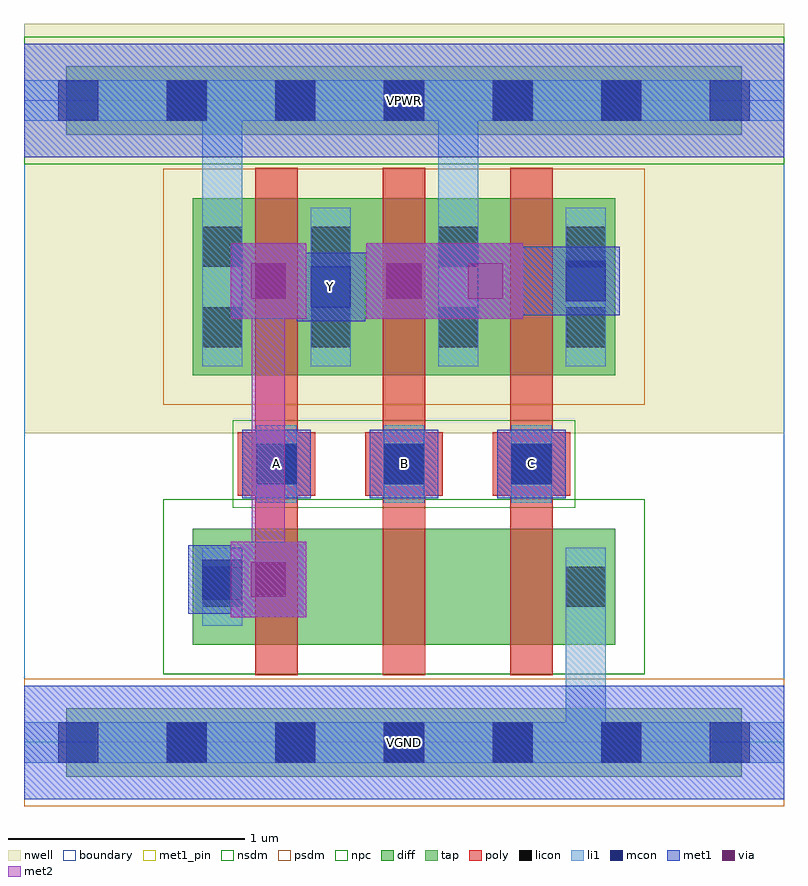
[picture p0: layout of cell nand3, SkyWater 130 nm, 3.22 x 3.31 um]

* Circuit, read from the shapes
.subckt nand3 A B C VGND VPWR Y
XM1 n1 A Y VGND sky130_fd_pr__nfet_01v8 w=0.49 l=0.18
XM2 n2 B n1 VGND sky130_fd_pr__nfet_01v8 w=0.49 l=0.18
XM3 VGND C n2 VGND sky130_fd_pr__nfet_01v8 w=0.49 l=0.18
XM4 Y A VPWR VPWR sky130_fd_pr__pfet_01v8 w=0.75 l=0.18
XM5 VPWR B Y VPWR sky130_fd_pr__pfet_01v8 w=0.75 l=0.18
XM6 Y C VPWR VPWR sky130_fd_pr__pfet_01v8 w=0.75 l=0.18
.ends

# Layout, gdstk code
import gdstk
lib = gdstk.Library(unit=1e-6, precision=1e-09)
def R(c, l, rs):  # rectangles x0, y0, x1, y1
    for r in rs: c.add(gdstk.rectangle(r[:2], r[2:], *l))
def A(c, l, x, y, w, h, nx, ny, dx, dy):  # array of equal rectangles
    R(c, l, [(x+i*dx, y+j*dy, x+i*dx+w, y+j*dy+h) for i in range(nx) for j in range(ny)])
nwell = (64, 20)
diff = (65, 20)
tap = (65, 44)
poly = (66, 20)
licon = (66, 44)
li1 = (67, 20)
mcon = (67, 44)
met1_pin = (68, 16)
met1 = (68, 20)
via = (68, 44)
met2 = (69, 20)
nsdm = (93, 44)
psdm = (94, 20)
npc = (95, 20)
boundary = (235, 4)

nand3 = lib.new_cell('nand3')
R(nand3, nwell, [(0,1.31,3.22,3.045)])
R(nand3, diff, [(0.715,0.415,2.505,0.905), (0.715,1.555,2.505,2.305)])
R(nand3, tap, [(0.18,-0.145,3.04,0.145), (0.18,2.575,3.04,2.865)])
A(nand3, poly, 0.98, 0.285, 0.18, 2.15, 3, 1, 0.54, 0)
A(nand3, poly, 0.905, 1.045, 0.33, 0.27, 3, 1, 0.54, 0)
A(nand3, licon, 0.605, -0.085, 0.17, 0.17, 5, 2, 0.46, 2.72)
A(nand3, licon, 0.985, 1.095, 0.17, 0.17, 3, 1, 0.54, 0)
A(nand3, licon, 1.215, 1.675, 0.17, 0.17, 3, 2, 0.54, 0.34)
R(nand3, licon, [(0.755,0.575,0.925,0.745), (2.295,0.575,2.465,0.745), (0.755,1.675,0.925,1.845), (0.755,2.015,0.925,2.185)])
A(nand3, li1, 0.985, 1.015, 0.17, 0.33, 3, 1, 0.54, 0)
A(nand3, li1, 1.215, 1.595, 0.17, 0.67, 3, 1, 0.54, 0)
R(nand3, li1, [(0,-0.085,3.22,0.085), (2.295,-0.085,2.465,0.825), (0.755,0.495,0.925,0.825), (2.295,0.495,2.465,0.825), (0.755,1.595,0.925,2.265), (0.755,1.595,0.925,2.805), (1.755,1.595,1.925,2.805), (0,2.635,3.22,2.805)])
A(nand3, mcon, 0.145, -0.085, 0.17, 0.17, 7, 2, 0.46, 2.72)
A(nand3, mcon, 0.985, 1.095, 0.17, 0.17, 3, 1, 0.54, 0)
R(nand3, mcon, [(0.755,0.605,0.925,0.775), (1.215,1.845,1.385,2.015), (2.295,1.87,2.465,2.04)])
A(nand3, met1_pin, 0.925, 1.035, 0.29, 0.29, 3, 1, 0.54, 0)
R(nand3, met1_pin, [(0,-0.24,3.22,0.24), (1.155,1.785,1.445,2.075), (0,2.48,3.22,2.96)])
A(nand3, met1, 0.925, 1.035, 0.29, 0.29, 3, 1, 0.54, 0)
R(nand3, met1, [(0,-0.24,3.22,0.24), (0.875,0.53,1.195,0.85), (0.695,0.545,0.985,0.835), (0.77,0.62,1.105,0.76), (1.155,1.785,1.445,2.075), (0.875,1.795,1.195,2.115), (1.445,1.795,1.45,2.075), (1.445,1.795,1.45,2.075), (1.445,1.795,1.45,2.075), (1.45,1.795,1.77,2.115), (1.77,1.795,1.795,2.115), (1.77,1.795,1.795,2.115), (1.77,1.795,1.795,2.115), (1.77,1.795,1.795,2.115), (1.77,1.795,1.795,2.115), (1.77,1.795,1.795,2.115), (1.795,1.795,2.115,2.115), (2.115,1.81,2.235,2.1), (2.115,1.81,2.235,2.1), (2.115,1.81,2.235,2.1), (2.115,1.81,2.235,2.1), (2.115,1.81,2.235,2.1), (2.115,1.81,2.235,2.1), (2.235,1.81,2.525,2.1), (0.965,1.885,1.335,2.025), (1.195,1.885,1.68,2.025), (1.195,1.885,1.335,2.025), (1.335,1.885,1.45,2.025), (1.335,1.885,1.45,2.025), (1.335,1.885,1.45,2.025), (1.335,1.885,1.45,2.025), (1.335,1.885,1.45,2.025), (1.335,1.885,1.45,2.025), (1.335,1.885,1.45,2.025), (1.335,1.885,1.45,2.025), (1.335,1.885,1.45,2.025), (1.335,1.885,1.445,2.025), (1.335,1.885,1.445,2.025), (1.335,1.885,1.445,2.025), (1.335,1.885,1.445,2.025), (1.335,1.885,1.445,2.025), (1.335,1.885,1.445,2.025), (1.335,1.885,1.445,2.025), (1.335,1.885,1.445,2.025), (1.335,1.885,1.445,2.025), (1.335,1.885,1.445,2.025), (1.335,1.885,1.445,2.025), (1.335,1.885,1.445,2.025), (1.335,1.885,1.445,2.025), (1.335,1.885,1.445,2.025), (1.335,1.885,1.445,2.025), (1.335,1.885,1.445,2.025), (1.335,1.885,1.445,2.025), (1.335,1.885,1.445,2.025), (1.335,1.885,1.445,2.025), (1.335,1.885,1.445,2.025), (1.335,1.885,1.445,2.025), (1.335,1.885,1.445,2.025), (1.335,1.885,1.445,2.025), (1.335,1.885,1.445,2.025), (1.335,1.885,1.445,2.025), (1.335,1.885,1.445,2.025), (1.335,1.885,1.445,2.025), (1.335,1.885,1.445,2.025), (1.335,1.885,1.445,2.025), (1.335,1.885,1.445,2.025), (1.335,1.885,1.445,2.025), (1.335,1.885,1.445,2.025), (1.335,1.885,1.445,2.025), (1.335,1.885,1.445,2.025), (1.335,1.885,1.445,2.025), (1.335,1.885,1.445,2.025), (1.335,1.885,1.445,2.025), (1.335,1.885,1.445,2.025), (1.335,1.885,1.445,2.025), (1.335,1.885,1.445,2.025), (1.335,1.885,1.445,2.025), (1.335,1.885,1.445,2.025), (1.335,1.885,1.445,2.025), (1.335,1.885,1.445,2.025), (1.335,1.885,1.445,2.025), (1.335,1.885,1.445,2.025), (1.335,1.885,1.445,2.025), (1.335,1.885,1.445,2.025), (1.445,1.885,1.45,2.025), (1.445,1.885,1.45,2.025), (1.445,1.885,1.45,2.025), (1.445,1.885,1.45,2.025), (1.445,1.885,1.45,2.025), (1.445,1.885,1.45,2.025), (1.445,1.885,1.45,2.025), (1.445,1.885,1.45,2.025), (1.445,1.885,1.45,2.025), (1.445,1.885,1.45,2.025), (1.445,1.885,1.45,2.025), (1.445,1.885,1.45,2.025), (1.445,1.885,1.45,2.025), (1.445,1.885,1.45,2.025), (1.445,1.885,1.45,2.025), (1.445,1.885,1.45,2.025), (1.445,1.885,1.45,2.025), (1.445,1.885,1.45,2.025), (1.445,1.885,1.45,2.025), (1.445,1.885,1.45,2.025), (1.445,1.885,1.45,2.025), (1.445,1.885,1.45,2.025), (1.445,1.885,1.45,2.025), (1.445,1.885,1.45,2.025), (1.445,1.885,1.45,2.025), (1.68,1.885,1.795,2.025), (1.68,1.885,1.795,2.025), (1.68,1.885,1.795,2.025), (1.68,1.885,1.795,2.025), (1.68,1.885,1.795,2.025), (1.68,1.885,1.795,2.025), (1.68,1.885,1.795,2.025), (1.68,1.885,1.795,2.025), (1.68,1.885,1.795,2.025), (1.68,1.885,1.795,2.025), (1.68,1.885,1.795,2.025), (1.68,1.885,1.795,2.025), (1.68,1.885,1.795,2.025), (1.68,1.885,1.795,2.025), (1.68,1.885,1.795,2.025), (1.68,1.885,1.795,2.025), (1.68,1.885,1.795,2.025), (1.68,1.885,1.795,2.025), (1.68,1.885,1.795,2.025), (1.68,1.885,1.795,2.025), (1.68,1.885,1.795,2.025), (1.68,1.885,1.795,2.025), (1.68,1.885,1.77,2.025), (1.68,1.885,1.77,2.025), (1.68,1.885,1.77,2.025), (1.68,1.885,1.77,2.025), (1.68,1.885,1.77,2.025), (1.68,1.885,1.77,2.025), (1.68,1.885,1.77,2.025), (1.68,1.885,1.77,2.025), (1.68,1.885,1.77,2.025), (1.68,1.885,1.77,2.025), (1.68,1.885,1.77,2.025), (1.68,1.885,1.77,2.025), (1.68,1.885,1.77,2.025), (1.68,1.885,1.77,2.025), (1.68,1.885,1.77,2.025), (1.68,1.885,1.77,2.025), (1.68,1.885,1.77,2.025), (1.68,1.885,1.77,2.025), (1.68,1.885,1.77,2.025), (1.68,1.885,1.77,2.025), (1.68,1.885,1.77,2.025), (1.68,1.885,1.77,2.025), (1.68,1.885,1.77,2.025), (1.68,1.885,1.77,2.025), (1.77,1.885,1.885,2.025), (1.77,1.885,1.885,2.025), (1.77,1.885,1.885,2.025), (1.77,1.885,1.885,2.025), (1.77,1.885,1.885,2.025), (1.77,1.885,1.885,2.025), (1.77,1.885,1.885,2.025), (1.77,1.885,1.885,2.025), (1.77,1.885,1.885,2.025), (1.77,1.885,1.885,2.025), (1.77,1.885,1.885,2.025), (1.77,1.885,1.885,2.025), (1.77,1.885,1.885,2.025), (1.77,1.885,1.885,2.025), (1.77,1.885,1.885,2.025), (1.77,1.885,1.885,2.025), (1.77,1.885,1.885,2.025), (1.77,1.885,1.885,2.025), (1.77,1.885,1.885,2.025), (1.77,1.885,1.885,2.025), (1.77,1.885,1.885,2.025), (1.77,1.885,1.885,2.025), (1.77,1.885,1.795,2.025), (1.77,1.885,1.795,2.025), (1.77,1.885,1.795,2.025), (1.77,1.885,1.795,2.025), (1.77,1.885,1.795,2.025), (1.77,1.885,1.795,2.025), (1.77,1.885,1.795,2.025), (1.77,1.885,1.795,2.025), (1.77,1.885,1.795,2.025), (1.77,1.885,1.795,2.025), (1.77,1.885,1.795,2.025), (1.77,1.885,1.795,2.025), (1.77,1.885,1.795,2.025), (1.77,1.885,1.795,2.025), (1.77,1.885,1.795,2.025), (1.77,1.885,1.795,2.025), (1.77,1.885,1.795,2.025), (1.77,1.885,1.795,2.025), (1.77,1.885,1.795,2.025), (1.77,1.885,1.795,2.025), (1.77,1.885,1.795,2.025), (1.77,1.885,1.795,2.025), (1.77,1.885,1.795,2.025), (1.77,1.885,1.795,2.025), (1.77,1.885,1.795,2.025), (1.77,1.885,1.795,2.025), (1.77,1.885,1.795,2.025), (1.77,1.885,1.795,2.025), (1.77,1.885,1.795,2.025), (1.77,1.885,1.795,2.025), (1.77,1.885,1.795,2.025), (1.77,1.885,1.795,2.025), (1.77,1.885,1.795,2.025), (1.77,1.885,1.795,2.025), (1.77,1.885,1.795,2.025), (1.77,1.885,1.795,2.025), (1.77,1.885,1.795,2.025), (1.77,1.885,1.795,2.025), (1.77,1.885,1.795,2.025), (1.77,1.885,1.795,2.025), (1.77,1.885,1.795,2.025), (1.77,1.885,1.795,2.025), (1.77,1.885,1.795,2.025), (1.77,1.885,1.795,2.025), (1.77,1.885,1.795,2.025), (1.77,1.885,1.795,2.025), (1.77,1.885,1.795,2.025), (1.77,1.885,1.795,2.025), (1.77,1.885,1.795,2.025), (1.77,1.885,1.795,2.025), (1.77,1.885,1.795,2.025), (1.77,1.885,1.795,2.025), (1.77,1.885,1.795,2.025), (1.77,1.885,1.795,2.025), (1.77,1.885,1.795,2.025), (1.77,1.885,1.795,2.025), (1.77,1.885,1.795,2.025), (1.77,1.885,1.795,2.025), (1.77,1.885,1.795,2.025), (1.77,1.885,1.795,2.025), (1.77,1.885,1.795,2.025), (1.77,1.885,1.795,2.025), (1.77,1.885,1.795,2.025), (1.77,1.885,1.795,2.025), (1.77,1.885,1.795,2.025), (1.77,1.885,1.795,2.025), (1.77,1.885,1.795,2.025), (1.77,1.885,1.795,2.025), (1.77,1.885,1.795,2.025), (1.77,1.885,1.795,2.025), (1.77,1.885,1.795,2.025), (1.77,1.885,1.795,2.025), (1.77,1.885,1.795,2.025), (1.77,1.885,1.795,2.025), (1.77,1.885,1.795,2.025), (1.77,1.885,1.795,2.025), (1.77,1.885,1.795,2.025), (1.77,1.885,1.795,2.025), (1.77,1.885,1.795,2.025), (1.77,1.885,1.795,2.025), (1.77,1.885,1.795,2.025), (1.77,1.885,1.795,2.025), (1.77,1.885,1.795,2.025), (1.77,1.885,1.795,2.025), (1.77,1.885,1.795,2.025), (1.77,1.885,1.795,2.025), (1.77,1.885,1.795,2.025), (1.77,1.885,1.795,2.025), (1.77,1.885,1.795,2.025), (1.77,1.885,1.795,2.025), (1.77,1.885,1.795,2.025), (1.77,1.885,1.795,2.025), (1.77,1.885,1.795,2.025), (1.77,1.885,1.795,2.025), (1.77,1.885,1.795,2.025), (1.77,1.885,1.795,2.025), (1.77,1.885,1.795,2.025), (1.77,1.885,1.795,2.025), (1.77,1.885,1.795,2.025), (1.77,1.885,1.795,2.025), (1.77,1.885,1.795,2.025), (1.77,1.885,1.795,2.025), (1.77,1.885,1.795,2.025), (1.77,1.885,1.795,2.025), (1.77,1.885,1.795,2.025), (1.77,1.885,1.795,2.025), (1.77,1.885,1.795,2.025), (1.77,1.885,1.795,2.025), (1.77,1.885,1.795,2.025), (1.77,1.885,1.795,2.025), (1.77,1.885,1.795,2.025), (1.77,1.885,1.795,2.025), (1.77,1.885,1.795,2.025), (1.77,1.885,1.795,2.025), (1.77,1.885,1.795,2.025), (1.77,1.885,1.795,2.025), (1.77,1.885,1.795,2.025), (1.77,1.885,1.795,2.025), (1.77,1.885,1.795,2.025), (1.77,1.885,1.795,2.025), (1.77,1.885,1.795,2.025), (1.77,1.885,1.795,2.025), (1.77,1.885,1.795,2.025), (1.77,1.885,1.795,2.025), (1.77,1.885,1.795,2.025), (1.77,1.885,1.795,2.025), (1.77,1.885,1.795,2.025), (1.77,1.885,1.795,2.025), (1.77,1.885,1.795,2.025), (1.77,1.885,1.795,2.025), (1.77,1.885,1.795,2.025), (1.77,1.885,1.795,2.025), (1.77,1.885,1.795,2.025), (1.77,1.885,1.795,2.025), (1.77,1.885,1.795,2.025), (1.77,1.885,1.795,2.025), (1.77,1.885,1.795,2.025), (1.77,1.885,1.795,2.025), (1.77,1.885,1.795,2.025), (1.77,1.885,1.795,2.025), (1.77,1.885,1.795,2.025), (1.77,1.885,1.795,2.025), (1.77,1.885,1.795,2.025), (1.77,1.885,1.795,2.025), (1.77,1.885,1.795,2.025), (1.77,1.885,1.795,2.025), (1.77,1.885,1.795,2.025), (1.77,1.885,1.795,2.025), (1.77,1.885,1.795,2.025), (1.77,1.885,1.795,2.025), (1.77,1.885,1.795,2.025), (1.77,1.885,1.795,2.025), (1.77,1.885,1.795,2.025), (1.77,1.885,1.795,2.025), (1.77,1.885,1.795,2.025), (1.77,1.885,1.795,2.025), (1.77,1.885,1.795,2.025), (1.77,1.885,1.795,2.025), (1.77,1.885,1.795,2.025), (1.77,1.885,1.795,2.025), (1.795,1.885,1.885,2.025), (1.795,1.885,1.885,2.025), (1.795,1.885,1.885,2.025), (1.795,1.885,1.885,2.025), (1.795,1.885,1.885,2.025), (1.795,1.885,1.885,2.025), (1.795,1.885,1.885,2.025), (1.795,1.885,1.885,2.025), (1.795,1.885,1.885,2.025), (1.795,1.885,1.885,2.025), (1.795,1.885,1.885,2.025), (1.795,1.885,1.885,2.025), (1.795,1.885,1.885,2.025), (1.795,1.885,1.885,2.025), (1.795,1.885,1.885,2.025), (1.795,1.885,1.885,2.025), (1.795,1.885,1.885,2.025), (1.795,1.885,1.885,2.025), (1.795,1.885,1.885,2.025), (1.795,1.885,1.885,2.025), (1.795,1.885,1.885,2.025), (1.795,1.885,1.885,2.025), (1.795,1.885,1.885,2.025), (1.795,1.885,1.885,2.025), (1.885,1.885,2.255,2.025), (2.115,1.885,2.45,2.025), (0,2.48,3.22,2.96)])
R(nand3, via, [(0.96,0.615,1.11,0.765), (0.96,1.88,1.11,2.03), (1.535,1.88,1.685,2.03), (1.88,1.88,2.03,2.03)])
R(nand3, met2, [(0.875,0.53,1.195,0.85), (0.965,0.62,1.105,2.025), (0.875,1.795,1.195,2.115), (1.45,1.795,1.77,2.115), (1.77,1.795,1.795,2.115), (1.77,1.795,1.795,2.115), (1.77,1.795,1.795,2.115), (1.77,1.795,1.795,2.115), (1.77,1.795,1.795,2.115), (1.77,1.795,1.795,2.115), (1.795,1.795,2.115,2.115), (1.54,1.885,2.025,2.025)])
R(nand3, nsdm, [(0.59,0.29,2.63,1.03), (0,2.45,3.22,2.99)])
R(nand3, psdm, [(0,-0.27,3.22,0.27), (0.59,1.43,2.63,2.43)])
R(nand3, npc, [(0.885,0.995,2.335,1.365)])
R(nand3, boundary, [(0,0,3.22,2.72)])
nand3.add(gdstk.Label('A', (1.07,1.18), layer=68, texttype=5))
nand3.add(gdstk.Label('B', (1.61,1.18), layer=68, texttype=5))
nand3.add(gdstk.Label('C', (2.15,1.18), layer=68, texttype=5))
nand3.add(gdstk.Label('Y', (1.3,1.93), layer=68, texttype=5))
nand3.add(gdstk.Label('VPWR', (1.61,2.72), layer=68, texttype=5))
nand3.add(gdstk.Label('VGND', (1.61,0), layer=68, texttype=5))
nand3.add(gdstk.Label('A', (1.07,1.18), layer=68, texttype=16))
nand3.add(gdstk.Label('B', (1.61,1.18), layer=68, texttype=16))
nand3.add(gdstk.Label('C', (2.15,1.18), layer=68, texttype=16))
nand3.add(gdstk.Label('Y', (1.3,1.93), layer=68, texttype=16))
nand3.add(gdstk.Label('VPWR', (1.61,2.72), layer=68, texttype=16))
nand3.add(gdstk.Label('VGND', (1.61,0), layer=68, texttype=16))

lib.write_gds('nand3.gds')
